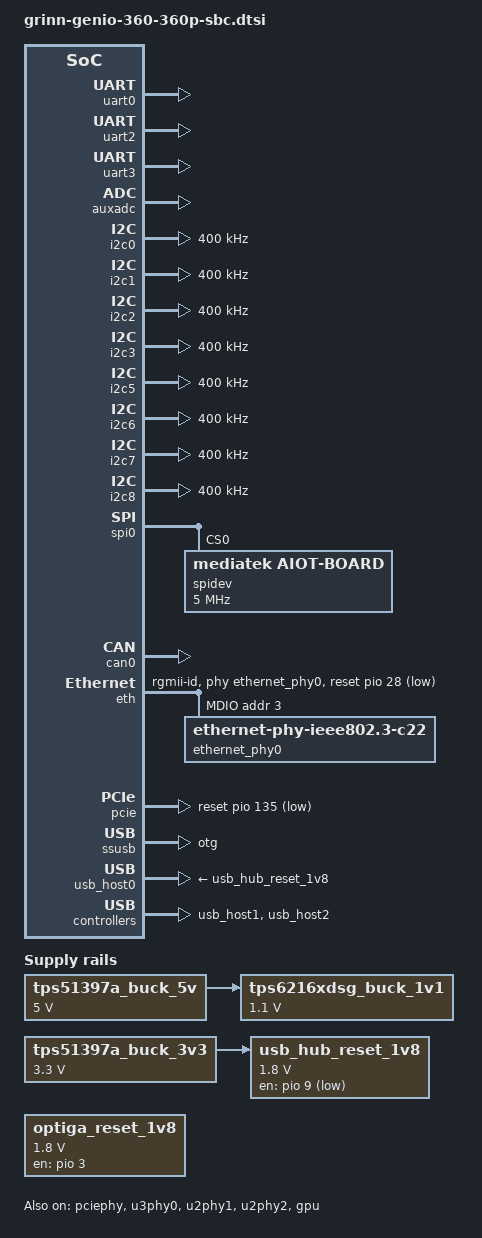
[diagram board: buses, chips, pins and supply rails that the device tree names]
// SPDX-License-Identifier: (GPL-2.0 OR MIT)
/*
 * Copyright (C) 2025 MediaTek Inc.
 * Copyright (C) 2026 Grinn sp. z o.o.
 */

#include "grinn-genio-360-360p-som.dtsi"
#include <dt-bindings/gpio/gpio.h>

/ {
	aliases {
		serial0 = &uart0;
		ethernet0 = &eth;
	};

	chosen {
		stdout-path = "serial0:921600n8";
	};

	tps51397a_buck_5v: regulator-0 {
		compatible = "regulator-fixed";
		regulator-name = "tps51397a_buck_5v";
		regulator-min-microvolt = <5000000>;
		regulator-max-microvolt = <5000000>;
	};

	tps51397a_buck_3v3: regulator-1 {
		compatible = "regulator-fixed";
		regulator-name = "tps51397a_buck_3v3";
		regulator-min-microvolt = <3300000>;
		regulator-max-microvolt = <3300000>;
	};

	tps6216xdsg_buck_1v1: regulator-2 {
		compatible = "regulator-fixed";
		regulator-name = "tps6216xdsg_buck_1v1";
		regulator-min-microvolt = <1100000>;
		regulator-max-microvolt = <1100000>;
		vin-supply = <&tps51397a_buck_5v>;
	};

	usb_hub_reset_1v8: regulator-3 {
		compatible = "regulator-fixed";
		regulator-name = "usb_hub_reset_1v8";
		regulator-min-microvolt = <1800000>;
		regulator-max-microvolt = <1800000>;
		gpio = <&pio 9 GPIO_ACTIVE_HIGH>; /* HUB_RESET */
		vin-supply = <&tps51397a_buck_3v3>;
	};

	optiga_reset_1v8: regulator-4 {
		compatible = "regulator-fixed";
		regulator-name = "optiga_reset_1v8";
		regulator-min-microvolt = <1800000>;
		regulator-max-microvolt = <1800000>;
		gpio = <&pio 3 GPIO_ACTIVE_HIGH>;
		enable-active-high;
		regulator-always-on;
	};

	wifi_pwrseq: wifi-pwrseq {
		compatible = "mmc-pwrseq-simple";
		status = "disabled";
	};
};

&pio {
	pinctrl-names = "default";
	pinctrl-0 = <&header_gpio_pins>;

	gpio-line-names =
			  /* 0 - 4 */
			  "40PIN_GPIO27", "40PIN_GPIO17", "", "", "",
			  /* 5 - 9 */
			  "", "", "", "", "",
			  /* 10 - 14 */
			  "", "", "", "", "",
			  /* 15 - 19 */
			  "", "", "", "", "",
			  /* 20 - 24 */
			  "", "", "", "", "",
			  /* 25 - 29 */
			  "", "", "", "", "",
			  /* 30 - 34 */
			  "", "", "", "", "",
			  /* 35 - 39 */
			  "", "40PIN_GPIO25", "40PIN_GPIO24", "40PIN_GPIO23", "40PIN_GPIO22",
			  /* 40 - 44 */
			  "", "", "", "", "40PIN_GPIO4",
			  /* 45 - 49 */
			  "", "", "", "40PIN_GPIO12", "40PIN_GPIO13",
			  /* 50 - 54 */
			  "", "", "", "", "",
			  /* 55 - 59 */
			  "", "", "", "", "",
			  /* 60 - 64 */
			  "", "", "", "", "",
			  /* 65 - 69 */
			  "", "", "", "", "",
			  /* 70 - 74 */
			  "40PIN_GPIO15", "40PIN_GPIO14", "", "", "",
			  /* 75 - 79 */
			  "", "", "", "", "",
			  /* 80 - 84 */
			  "40PIN_GPIO26", "40PIN_GPIO16", "40PIN_GPIO6", "", "",
			  /* 85 - 89 */
			  "", "40PIN_GPIO18", "40PIN_GPIO19", "40PIN_GPIO20", "40PIN_GPIO21",
			  /* 90 - 94 */
			  "", "", "", "", "",
			  /* 95 - 99 */
			  "", "", "", "", "",
			  /* 100 - 104 */
			  "", "", "", "", "40PIN_GPIO3",
			  /* 105 - 109 */
			  "40PIN_GPIO2", "", "", "", "",
			  /* 110 - 114 */
			  "", "", "40PIN_GPIO1", "40PIN_GPIO0", "",
			  /* 115 - 119 */
			  "", "", "", "40PIN_GPIO11", "40PIN_GPIO8",
			  /* 120 - 124 */
			  "40PIN_GPIO10", "40PIN_GPIO9", "", "", "",
			  /* 125 - 129 */
			  "", "", "", "", "",
			  /* 130 - 134 */
			  "", "", "", "", "",
			  /* 135 - 139 */
			  "", "", "", "", "",
			  /* 140 - 144 */
			  "", "", "", "", "",
			  /* 145 - 149 */
			  "", "", "", "", "40PIN_GPIO5",
			  /* 150 - 154 */
			  "", "", "", "", "40PIN_GPIO7";

	header_gpio_pins: header-gpio-pins {
		pins {
			pinmux = <PINMUX_GPIO0__FUNC_GPIO0>,
				 <PINMUX_GPIO1__FUNC_GPIO1>,
				 <PINMUX_GPIO36__FUNC_GPIO36>,
				 <PINMUX_GPIO37__FUNC_GPIO37>,
				 <PINMUX_GPIO38__FUNC_GPIO38>,
				 <PINMUX_GPIO39__FUNC_GPIO39>,
				 <PINMUX_GPIO44__FUNC_GPIO44>,
				 <PINMUX_GPIO80__FUNC_GPIO80>,
				 <PINMUX_GPIO81__FUNC_GPIO81>,
				 <PINMUX_GPIO82__FUNC_GPIO82>,
				 <PINMUX_GPIO149__FUNC_GPIO149>,
				 <PINMUX_GPIO154__FUNC_GPIO154>;
		};
	};

	uart0_pins: uart0-default-pins {
		pins-bus {
			pinmux = <PINMUX_GPIO66__FUNC_URXD0>,
				 <PINMUX_GPIO67__FUNC_UTXD0>;
		};
	};

	uart2_pins: uart2-default-pins {
		pins-bus {
			pinmux = <PINMUX_GPIO70__FUNC_URXD2>,
				 <PINMUX_GPIO71__FUNC_UTXD2>;
		};
	};

	uart3_pins: uart3-default-pins {
		pins-bus {
			pinmux = <PINMUX_GPIO72__FUNC_URXD3>,
				 <PINMUX_GPIO73__FUNC_UTXD3>;
		};
	};

	i2c0_pins: i2c0-default-pins {
		pins-bus {
			pinmux = <PINMUX_GPIO98__FUNC_SCL0>,
				 <PINMUX_GPIO99__FUNC_SDA0>;
			bias-pull-up = <MTK_PULL_SET_RSEL_111>;
		};
	};

	i2c1_pins: i2c1-default-pins {
		pins-bus {
			pinmux = <PINMUX_GPIO100__FUNC_SCL1>,
				 <PINMUX_GPIO101__FUNC_SDA1>;
			bias-pull-up = <MTK_PULL_SET_RSEL_111>;
		};
	};

	i2c2_pins: i2c2-default-pins {
		pins-bus {
			pinmux = <PINMUX_GPIO102__FUNC_SCL2>,
				 <PINMUX_GPIO103__FUNC_SDA2>;
			bias-pull-up = <MTK_PULL_SET_RSEL_111>;
		};
	};

	i2c3_pins: i2c3-default-pins {
		pins-bus {
			pinmux = <PINMUX_GPIO104__FUNC_SCL3>,
				 <PINMUX_GPIO105__FUNC_SDA3>;
			bias-pull-up = <MTK_PULL_SET_RSEL_111>;
		};
	};

	i2c5_pins: i2c5-default-pins {
		pins-bus {
			pinmux = <PINMUX_GPIO108__FUNC_SCL5>,
				 <PINMUX_GPIO109__FUNC_SDA5>;
			bias-pull-up = <MTK_PULL_SET_RSEL_111>;
		};
	};

	i2c6_pins: i2c6-default-pins {
		pins-bus {
			pinmux = <PINMUX_GPIO110__FUNC_SCL6>,
				 <PINMUX_GPIO111__FUNC_SDA6>;
			bias-pull-up = <MTK_PULL_SET_RSEL_111>;
		};
	};

	i2c7_pins: i2c7-default-pins {
		pins-bus {
			pinmux = <PINMUX_GPIO112__FUNC_SCL7>,
				 <PINMUX_GPIO113__FUNC_SDA7>;
			bias-pull-up = <MTK_PULL_SET_RSEL_111>;
		};
	};

	i2c8_pins: i2c8-default-pins {
		pins-bus {
			pinmux = <PINMUX_GPIO114__FUNC_SCL8>,
				 <PINMUX_GPIO115__FUNC_SDA8>;
			bias-pull-up = <MTK_PULL_SET_RSEL_111>;
		};
	};

	spi0_pins: spi0-default-pins {
		pins-spi {
			pinmux = <PINMUX_GPIO118__FUNC_SPIM0_A_CLK>,
				 <PINMUX_GPIO119__FUNC_SPIM0_A_CSB>,
				 <PINMUX_GPIO120__FUNC_SPIM0_A_MO>,
				 <PINMUX_GPIO121__FUNC_SPIM0_A_MI>;
			bias-disable;
		};
	};

	can0_pins_default: can0-default-pins {
		pins-data {
			pinmux = <PINMUX_GPIO42__FUNC_CAN0_TXD>,
				 <PINMUX_GPIO43__FUNC_CAN0_RXD>;
		};
	};

	eth_default_pins: eth-default-pins {
		pins-txd {
			pinmux = <PINMUX_GPIO12__FUNC_GBE_TXD3>,
				 <PINMUX_GPIO13__FUNC_GBE_TXD2>,
				 <PINMUX_GPIO14__FUNC_GBE_TXD1>,
				 <PINMUX_GPIO15__FUNC_GBE_TXD0>;
			drive-strength = <MTK_DRIVE_8mA>;
		};

		pins-cc {
			pinmux = <PINMUX_GPIO20__FUNC_GBE_TXC>,
				 <PINMUX_GPIO23__FUNC_GBE_TXEN>,
				 <PINMUX_GPIO22__FUNC_GBE_RXDV>,
				 <PINMUX_GPIO21__FUNC_GBE_RXC>;
			drive-strength = <MTK_DRIVE_8mA>;
		};

		pins-rxd {
			pinmux = <PINMUX_GPIO16__FUNC_GBE_RXD3>,
				 <PINMUX_GPIO17__FUNC_GBE_RXD2>,
				 <PINMUX_GPIO18__FUNC_GBE_RXD1>,
				 <PINMUX_GPIO19__FUNC_GBE_RXD0>;
			drive-strength = <MTK_DRIVE_8mA>;
		};

		pins-mdio {
			pinmux = <PINMUX_GPIO24__FUNC_GBE_MDC>,
				 <PINMUX_GPIO25__FUNC_GBE_MDIO>;
			drive-strength = <MTK_DRIVE_8mA>;
			input-enable;
		};
	};

	eth_sleep_pins: eth-sleep-pins {
		pins-txd {
			pinmux = <PINMUX_GPIO12__FUNC_GPIO12>,
				 <PINMUX_GPIO13__FUNC_GPIO13>,
				 <PINMUX_GPIO14__FUNC_GPIO14>,
				 <PINMUX_GPIO15__FUNC_GPIO15>;
		};

		pins-cc {
			pinmux = <PINMUX_GPIO20__FUNC_GPIO20>,
				 <PINMUX_GPIO23__FUNC_GPIO23>,
				 <PINMUX_GPIO22__FUNC_GPIO22>,
				 <PINMUX_GPIO21__FUNC_GPIO21>;
		};

		pins-rxd {
			pinmux = <PINMUX_GPIO16__FUNC_GPIO16>,
				 <PINMUX_GPIO17__FUNC_GPIO17>,
				 <PINMUX_GPIO18__FUNC_GPIO18>,
				 <PINMUX_GPIO19__FUNC_GPIO19>;
		};

		pins-mdio {
			pinmux = <PINMUX_GPIO24__FUNC_GPIO24>,
				 <PINMUX_GPIO25__FUNC_GPIO25>;
			input-disable;
			bias-disable;
		};
	};

	mmc2_pins_default: mmc2-default-pins {
		pins-clk {
			pinmux = <PINMUX_GPIO140__FUNC_MSDC2_CLK>;
			drive-strength = <MTK_DRIVE_4mA>;
			bias-pull-down = <MTK_PUPD_SET_R1R0_10>;
		};

		pins-cmd-dat {
			pinmux = <PINMUX_GPIO141__FUNC_MSDC2_CMD>,
				 <PINMUX_GPIO142__FUNC_MSDC2_DAT0>,
				 <PINMUX_GPIO143__FUNC_MSDC2_DAT1>,
				 <PINMUX_GPIO144__FUNC_MSDC2_DAT2>,
				 <PINMUX_GPIO145__FUNC_MSDC2_DAT3>;
			input-enable;
			drive-strength = <MTK_DRIVE_4mA>;
			bias-pull-up = <MTK_PUPD_SET_R1R0_01>;
		};
	};

	mmc2_pins_uhs: mmc2-uhs-pins {
		pins-clk {
			pinmux = <PINMUX_GPIO140__FUNC_MSDC2_CLK>;
			drive-strength = <MTK_DRIVE_6mA>;
			bias-pull-down = <MTK_PUPD_SET_R1R0_10>;
		};

		pins-cmd-dat {
			pinmux = <PINMUX_GPIO141__FUNC_MSDC2_CMD>,
				 <PINMUX_GPIO142__FUNC_MSDC2_DAT0>,
				 <PINMUX_GPIO143__FUNC_MSDC2_DAT1>,
				 <PINMUX_GPIO144__FUNC_MSDC2_DAT2>,
				 <PINMUX_GPIO145__FUNC_MSDC2_DAT3>;
			input-enable;
			drive-strength = <MTK_DRIVE_6mA>;
			bias-pull-up = <MTK_PUPD_SET_R1R0_01>;
		};
	};

	mmc2_pins_eint: mmc2-eint-pins {
		pins-dat1 {
			pinmux = <PINMUX_GPIO143__FUNC_GPIO143>;
			input-enable;
			bias-pull-up = <MTK_PUPD_SET_R1R0_01>;
		};
	};

	usb0_default_pins: usb0-default-pins {
		usb0-vbus-valid {
			pinmux = <PINMUX_GPIO54__FUNC_VBUSVALID>;
			input-enable;
		};
	};

	pwm_pins_default: pwm-default-pins {
		pins-pwm {
			pinmux = <PINMUX_GPIO48__FUNC_PWM_0>,
				 <PINMUX_GPIO49__FUNC_PWM_1>;
		};
	};

	aud_gpio_pcm_off: aud-gpio-pcm-off {
		pins-cmd1-dat {
			pinmux = <PINMUX_GPIO86__FUNC_GPIO86>;
			input-enable;
			bias-pull-down;
		};
		pins-cmd2-dat {
			pinmux = <PINMUX_GPIO87__FUNC_GPIO87>;
			input-enable;
			bias-pull-down;
		};
		pins-cmd3-dat {
			pinmux = <PINMUX_GPIO88__FUNC_GPIO88>;
			input-enable;
			bias-pull-down;
		};
		pins-cmd4-dat {
			pinmux = <PINMUX_GPIO89__FUNC_GPIO89>;
			input-enable;
			bias-pull-down;
		};
	};
	aud_gpio_pcm_on: aud-gpio-pcm-on {
		pins-cmd1-dat {
			pinmux = <PINMUX_GPIO86__FUNC_PCM0_CLK>;
			input-schmitt-enable;
			bias-disable;
		};
		pins-cmd2-dat {
			pinmux = <PINMUX_GPIO87__FUNC_PCM0_SYNC>;
			input-schmitt-enable;
			bias-disable;
		};
		pins-cmd3-dat {
			pinmux = <PINMUX_GPIO88__FUNC_PCM0_DI>;
			input-schmitt-enable;
			bias-disable;
		};
		pins-cmd4-dat {
			pinmux = <PINMUX_GPIO89__FUNC_PCM0_DO>;
			input-schmitt-enable;
			bias-disable;
		};
	};
};

&uart0 {
	pinctrl-names = "default";
	pinctrl-0 = <&uart0_pins>;
	status = "okay";
};

&uart2 {
	pinctrl-names = "default";
	pinctrl-0 = <&uart2_pins>;
	status = "okay";
};

&uart3 {
	pinctrl-names = "default";
	pinctrl-0 = <&uart3_pins>;
	status = "okay";
};

&auxadc {
	status = "okay";
};

&i2c0 {
	pinctrl-names = "default";
	pinctrl-0 = <&i2c0_pins>;
	clock-frequency = <400000>;
	status = "okay";
};

&i2c1 {
	pinctrl-names = "default";
	pinctrl-0 = <&i2c1_pins>;
	clock-frequency = <400000>;
	status = "okay";
};

&i2c2 {
	pinctrl-names = "default";
	pinctrl-0 = <&i2c2_pins>;
	clock-frequency = <400000>;
	status = "okay";
};

&i2c3 {
	pinctrl-names = "default";
	pinctrl-0 = <&i2c3_pins>;
	clock-frequency = <400000>;
	status = "okay";
};

&i2c5 {
	pinctrl-names = "default";
	pinctrl-0 = <&i2c5_pins>;
	clock-frequency = <400000>;
	status = "okay";
};

&i2c6 {
	pinctrl-names = "default";
	pinctrl-0 = <&i2c6_pins>;
	clock-frequency = <400000>;
	status = "okay";
};

&i2c7 {
	pinctrl-names = "default";
	pinctrl-0 = <&i2c7_pins>;
	clock-frequency = <400000>;
	status = "okay";
};

&i2c8 {
	pinctrl-names = "default";
	pinctrl-0 = <&i2c8_pins>;
	clock-frequency = <400000>;
	status = "okay";
};

&spi0 {
	pinctrl-names = "default";
	pinctrl-0 = <&spi0_pins>;
	status = "okay";

	spidev@0 {
		compatible = "mediatek,aiot-board";
		reg = <0>;
		spi-max-frequency = <5000000>;
		spi-cs-setup-delay-ns = <100>;
	};
};

&can0 {
	pinctrl-names = "default";
	pinctrl-0 = <&can0_pins_default>;
	status = "okay";
};

&eth {
	phy-mode = "rgmii-id";
	phy-handle = <&ethernet_phy0>;
	snps,reset-active-low;
	snps,reset-delays-us = <0 11000 200000>;
	snps,reset-gpio = <&pio 28 GPIO_ACTIVE_LOW>;
	pinctrl-names = "default", "sleep";
	pinctrl-0 = <&eth_default_pins>;
	pinctrl-1 = <&eth_sleep_pins>;
	mediatek,mac-wol;
	mediatek,tx-delay-ps = <1740>;
	mediatek,rx-delay-ps = <0>;
	status = "okay";

	mdio {
		compatible = "snps,dwmac-mdio";
		#address-cells = <1>;
		#size-cells = <0>;

		ethernet_phy0: ethernet-phy@3 {
			compatible = "ethernet-phy-ieee802.3-c22";
			reg = <3>;
			rxc-skew-ps = <1500>;
			rxdv-skew-ps = <420>;
			rxd0-skew-ps = <420>;
			rxd1-skew-ps = <420>;
			rxd2-skew-ps = <420>;
			rxd3-skew-ps = <420>;
			txc-skew-ps = <900>;
			txen-skew-ps = <420>;
			txd0-skew-ps = <420>;
			txd1-skew-ps = <420>;
			txd2-skew-ps = <420>;
			txd3-skew-ps = <420>;
		};
	};
};

&mmc2 {
	pinctrl-names = "default", "state_uhs", "state_eint";
	pinctrl-0 = <&mmc2_pins_default>;
	pinctrl-1 = <&mmc2_pins_uhs>;
	pinctrl-2 = <&mmc2_pins_eint>;
	bus-width = <4>;
	max-frequency = <200000000>;
	cap-sd-highspeed;
	sd-uhs-sdr104;
	keep-power-in-suspend;
	wakeup-source;
	cap-sdio-irq;
	tune-64steps;
	enable-dll;
	no-mmc;
	no-sd;
	non-removable;
	status = "disabled";
};

&pcie {
	reset-gpios = <&pio 135 GPIO_ACTIVE_LOW>;
	status = "okay";
};

&pciephy {
	status = "okay";
};

&ssusb {
	pinctrl-names = "default";
	pinctrl-0 = <&usb0_default_pins>;
	dr_mode = "otg";
	role-switch-default-mode = "peripheral";
	mediatek,usb3-host-only;
	mediatek,force-vbus;
	usb3-lpm-disable;
	wakeup-source;
	status = "okay";
};

&usb_host0 {
	vbus-supply = <&usb_hub_reset_1v8>;
	status = "okay";
};

&usb_host1 {
	wakeup-source;
	status = "okay";
};

&usb_host2 {
	status = "okay";
};

&u3phy0 {
	status = "okay";
};

&u2phy1 {
	status = "okay";
};

&u2phy2 {
	status = "okay";
};

&dp_tx {
	status = "disabled";
};

&dsi0 {
	#address-cells = <1>;
	#size-cells = <0>;
	status = "disabled";
};

&mipi_tx_config0 {
	status = "disabled";
};

&pwm {
	pinctrl-names = "default";
	pinctrl-0 = <&pwm_pins_default>;
};

&afe {
	pinctrl-names = "aud-clk-mosi-off",
			"aud-clk-mosi-on",
			"aud-sync-mosi-off",
			"aud-sync-mosi-on",
			"aud-dat-mosi0-off",
			"aud-dat-mosi0-on",
			"aud-dat-mosi1-off",
			"aud-dat-mosi1-on",
			"aud-dat-miso0-off",
			"aud-dat-miso0-on",
			"aud-dat-miso1-off",
			"aud-dat-miso1-on",
			"aud-gpio-pcm-off",
			"aud-gpio-pcm-on";
	pinctrl-12 = <&aud_gpio_pcm_off>;
	pinctrl-13 = <&aud_gpio_pcm_on>;
};

&sound {
	compatible = "mediatek,mt8171-mt6366-sound";
	model = "mt8366-evk";
	status = "okay";

	dai-link-0 {
		link-name = "TDM_DPTX";
		status = "disabled";

		codec {
			sound-dai = <&dp_tx>;
		};
	};
};

&gpu {
	status = "okay";
};
